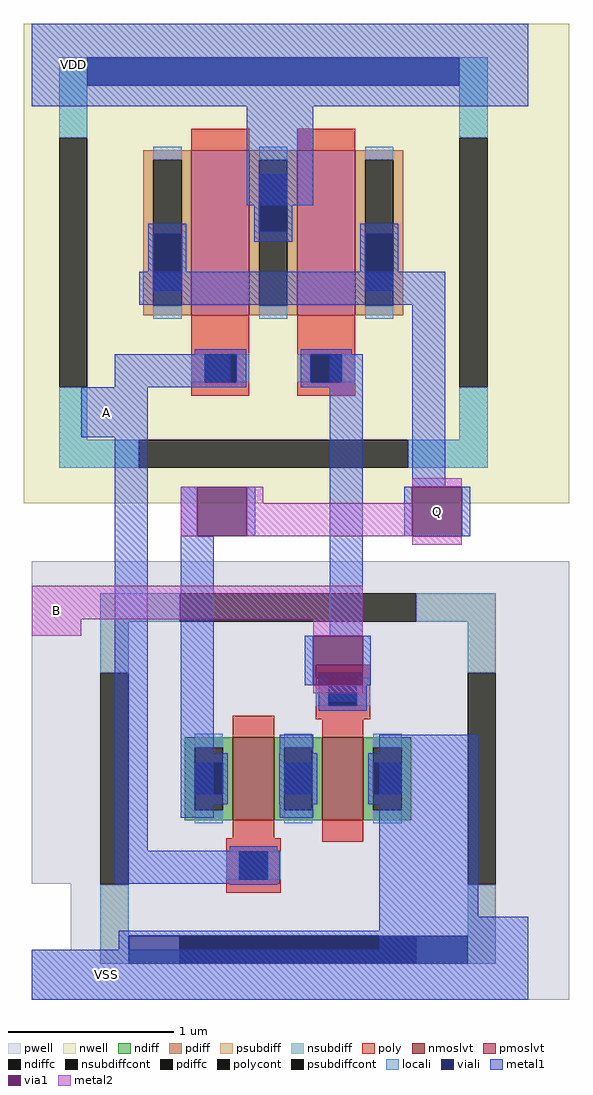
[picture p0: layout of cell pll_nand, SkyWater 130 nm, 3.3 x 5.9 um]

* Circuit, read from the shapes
.subckt pll_nand A B Q VDD VSS
XM1 n1 A Q VSS sky130_fd_pr__nfet_01v8_lvt w=0.5 l=0.25
XM2 VSS B n1 VSS sky130_fd_pr__nfet_01v8_lvt w=0.5 l=0.25
XM3 VDD A Q VDD sky130_fd_pr__pfet_01v8_lvt w=1 l=0.35
XM4 Q B VDD VDD sky130_fd_pr__pfet_01v8_lvt w=1 l=0.35
.ends

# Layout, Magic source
magic
tech sky130A
magscale 1 2
<< nwell >>
rect -110 540 550 1120
<< pwell >>
rect -100 80 550 470
rect 320 0 550 80
rect -100 -60 550 0
<< metal1 >>
rect -100 1020 500 1120
rect 160 900 240 1020
rect 30 780 400 820
rect 0 680 140 720
rect -40 620 40 680
rect 0 120 40 620
rect 80 500 100 560
rect 160 500 170 560
rect 80 160 120 500
rect 260 380 300 720
rect 360 560 400 780
rect 350 500 360 560
rect 420 500 430 560
rect 230 320 240 380
rect 300 320 310 380
rect 260 300 300 320
rect 200 160 240 260
rect 0 80 200 120
rect 320 40 440 260
rect 320 0 500 40
rect -100 -60 500 0
<< via1 >>
rect 100 500 160 560
rect 360 500 420 560
rect 240 320 300 380
<< metal2 >>
rect 360 560 420 570
rect 80 500 100 560
rect 160 540 180 560
rect 160 500 360 540
rect 360 490 420 500
rect -100 400 300 440
rect -100 380 -40 400
rect 240 380 300 400
rect 240 310 300 320
use sky130_fd_pr__nfet_01v8_lvt_ZDUAWA  sky130_fd_pr__nfet_01v8_lvt_ZDUAWA_0
transform 1 0 222 0 1 207
box -275 -260 275 260
use sky130_fd_pr__pfet_01v8_lvt_UT4KY6  sky130_fd_pr__pfet_01v8_lvt_UT4KY6_0
transform 1 0 192 0 1 831
box -295 -284 295 284
<< labels >>
flabel metal2 -100 380 -40 440 0 FreeSans 800 0 0 0 B
port 1 nsew
flabel metal1 -100 1020 0 1120 0 FreeSans 800 0 0 0 VDD
port 3 nsew
flabel metal1 -60 -60 40 0 0 FreeSans 800 0 0 0 VSS
port 4 nsew
flabel metal1 -40 620 20 680 0 FreeSans 800 0 0 0 A
port 0 nsew
flabel metal2 360 500 420 560 0 FreeSans 800 0 0 0 Q
port 2 nsew
<< end >>

# cell sky130_fd_pr__nfet_01v8_lvt_ZDUAWA: kit device sky130_fd_pr__nfet_01v8_lvt, w 0.5 l 0.25 m 1 nf 2 diffcov 100 polycov 100 guard 1 glc 1 grc 1 gtc 1 gbc 1 tbcov 100 rlcov 100 topc 1 botc 0 poverlap 0 doverlap 1 lmin 0.15 wmin 0.42 compatible {sky130_fd_pr__nfet_01v8 sky130_fd_pr__nfet_01v8_lvt sky130_fd_bs_flash__special_sonosfet_star sky130_fd_pr__nfet_g5v0d10v5 sky130_fd_pr__nfet_05v0_nvt sky130_fd_pr__nfet_03v3_nvt} full_metal 1 viasrc 50 viadrn 50 viagate 100 viagb 100 viagr 0 viagl 0 viagt 0

# cell sky130_fd_pr__pfet_01v8_lvt_UT4KY6: kit device sky130_fd_pr__pfet_01v8_lvt, w 1 l 0.35 m 1 nf 2 diffcov 100 polycov 100 guard 1 glc 1 grc 1 gtc 0 gbc 1 tbcov 100 rlcov 100 topc 0 botc 1 poverlap 0 doverlap 1 lmin 0.35 wmin 0.42 compatible {sky130_fd_pr__pfet_01v8 sky130_fd_pr__pfet_01v8_lvt sky130_fd_pr__pfet_01v8_hvt sky130_fd_pr__pfet_g5v0d10v5} full_metal 1 viasrc -40 viadrn +40 viagate 100 viagb 0 viagr 0 viagl 0 viagt 100
